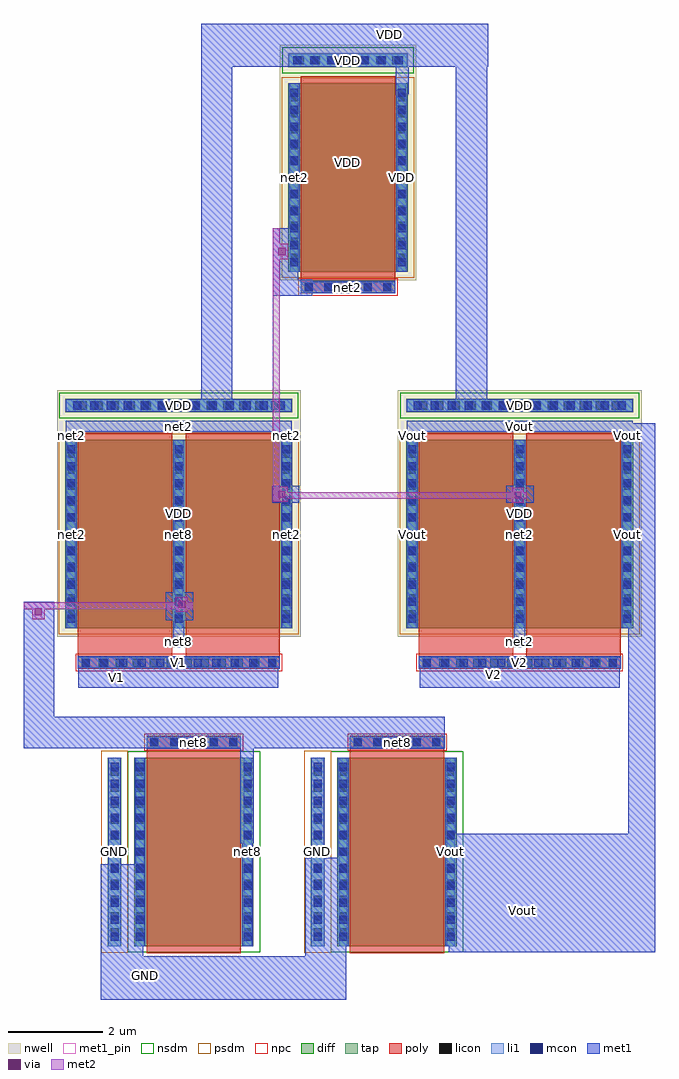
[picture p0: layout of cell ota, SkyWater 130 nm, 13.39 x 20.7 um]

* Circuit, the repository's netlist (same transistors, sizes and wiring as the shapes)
** sch_path: /foss/designs/ota.sch
.subckt ota VDD V2 V1 Vout GND
*.PININFO VDD:B GND:B V2:I V1:I Vout:O
XM1 net2 V1 net1 VDD sky130_fd_pr__pfet_01v8 L=2 W=8 nf=2 m=1
XM3 net2 net2 GND GND sky130_fd_pr__nfet_01v8 L=2 W=4 nf=1 m=1
XM4 Vout net2 GND GND sky130_fd_pr__nfet_01v8 L=2 W=4 nf=1 m=1
XM2 Vout V2 net1 VDD sky130_fd_pr__pfet_01v8 L=2 W=8 nf=2 m=1
XM5 net1 net1 VDD VDD sky130_fd_pr__pfet_01v8 L=2 W=4 nf=1 m=1
**** begin user architecture code

**** end user architecture code
.ends

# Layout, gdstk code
import gdstk
lib = gdstk.Library(unit=1e-6, precision=1e-09)
def R(c, l, rs):  # rectangles x0, y0, x1, y1
    for r in rs: c.add(gdstk.rectangle(r[:2], r[2:], *l))
def A(c, l, x, y, w, h, nx, ny, dx, dy):  # array of equal rectangles
    R(c, l, [(x+i*dx, y+j*dy, x+i*dx+w, y+j*dy+h) for i in range(nx) for j in range(ny)])
nwell = (64, 20)
diff = (65, 20)
tap = (65, 44)
poly = (66, 20)
licon = (66, 44)
li1 = (67, 20)
mcon = (67, 44)
met1_pin = (68, 16)
met1 = (68, 20)
via = (68, 44)
met2 = (69, 20)
nsdm = (93, 44)
psdm = (94, 20)
npc = (95, 20)

m1m2_c_cdns_778477242840 = lib.new_cell('M1M2_C_CDNS_778477242840')
R(m1m2_c_cdns_778477242840, met1, [(-0.13,-0.16,0.13,0.16)])
R(m1m2_c_cdns_778477242840, via, [(-0.075,-0.075,0.075,0.075)])
R(m1m2_c_cdns_778477242840, met2, [(-0.13,-0.16,0.13,0.16)])

ota = lib.new_cell('ota')
R(ota, nwell, [(1.19,9.285,6.36,14.515), (8.415,9.285,13.585,14.515), (5.915,16.845,8.805,21.835)])
R(ota, diff, [(2.825,2.725,3.09,6.725), (3.09,2.725,5.09,6.725), (5.09,2.725,5.355,6.725), (7.135,2.725,7.4,6.725), (7.4,2.725,9.4,6.725), (9.4,2.725,9.665,6.725), (1.37,9.465,1.635,13.465), (1.635,9.465,3.635,13.465), (3.635,9.465,3.915,13.465), (3.915,9.465,5.915,13.465), (5.915,9.465,6.18,13.465), (8.595,9.465,8.86,13.465), (8.86,9.465,10.86,13.465), (10.86,9.465,11.14,13.465), (11.14,9.465,13.14,13.465), (13.14,9.465,13.405,13.465), (6.095,17.025,6.36,21.025), (6.36,17.025,8.36,21.025), (8.36,17.025,8.625,21.025)])
R(ota, tap, [(2.265,2.725,2.555,6.725), (6.575,2.725,6.865,6.725), (1.37,14.045,6.18,14.335), (8.595,14.045,13.405,14.335), (6.095,21.365,8.625,21.655)])
R(ota, poly, [(3.09,2.575,5.09,2.725), (7.4,2.575,9.4,2.725), (3.09,2.725,5.09,6.725), (7.4,2.725,9.4,6.725), (3.09,6.725,5.09,6.915), (7.4,6.725,9.4,6.915), (3.09,6.915,5.09,7.185), (7.4,6.915,9.4,7.185), (1.635,8.605,5.915,8.875), (8.86,8.605,13.14,8.875), (1.635,8.875,3.635,9.465), (3.915,8.875,5.915,9.465), (8.86,8.875,10.86,9.465), (11.14,8.875,13.14,9.465), (1.635,9.465,3.635,13.465), (3.915,9.465,5.915,13.465), (8.86,9.465,10.86,13.465), (11.14,9.465,13.14,13.465), (1.635,13.465,3.635,13.615), (3.915,13.465,5.915,13.615), (8.86,13.465,10.86,13.615), (11.14,13.465,13.14,13.615), (6.36,16.565,8.36,16.835), (6.36,16.835,8.36,17.025), (6.36,17.025,8.36,21.025), (6.36,21.025,8.36,21.175)])
A(ota, licon, 2.325, 2.94, 0.17, 0.17, 1, 11, 0, 0.34)
A(ota, licon, 2.865, 2.94, 0.17, 0.17, 1, 11, 0, 0.34)
A(ota, licon, 5.145, 2.94, 0.17, 0.17, 1, 11, 0, 0.34)
A(ota, licon, 6.635, 2.94, 0.17, 0.17, 1, 11, 0, 0.34)
A(ota, licon, 7.175, 2.94, 0.17, 0.17, 1, 11, 0, 0.34)
A(ota, licon, 9.455, 2.94, 0.17, 0.17, 1, 11, 0, 0.34)
A(ota, licon, 3.17, 6.965, 0.17, 0.17, 3, 1, 0.42, 0)
A(ota, licon, 7.48, 6.965, 0.17, 0.17, 3, 1, 0.42, 0)
A(ota, licon, 1.715, 8.655, 0.17, 0.17, 10, 1, 0.36, 0)
A(ota, licon, 8.94, 8.655, 0.17, 0.17, 10, 1, 0.36, 0)
A(ota, licon, 1.41, 9.68, 0.17, 0.17, 3, 11, 2.28, 0.34)
A(ota, licon, 8.635, 9.68, 0.17, 0.17, 3, 11, 2.28, 0.34)
A(ota, licon, 1.65, 14.105, 0.17, 0.17, 13, 1, 0.34, 0)
A(ota, licon, 8.875, 14.105, 0.17, 0.17, 13, 1, 0.34, 0)
A(ota, licon, 6.44, 16.615, 0.17, 0.17, 3, 1, 0.42, 0)
A(ota, licon, 6.135, 17.24, 0.17, 0.17, 1, 11, 0, 0.34)
A(ota, licon, 8.415, 17.24, 0.17, 0.17, 1, 11, 0, 0.34)
A(ota, licon, 6.255, 21.425, 0.17, 0.17, 7, 1, 0.34, 0)
R(ota, licon, [(4.425,6.965,4.595,7.135), (4.84,6.965,5.01,7.135), (8.735,6.965,8.905,7.135), (9.15,6.965,9.32,7.135), (5.31,8.655,5.48,8.825), (5.665,8.655,5.835,8.825), (12.535,8.655,12.705,8.825), (12.89,8.655,13.06,8.825), (7.695,16.615,7.865,16.785), (8.11,16.615,8.28,16.785)])
A(ota, li1, 1.41, 9.465, 0.17, 4, 3, 1, 2.28, 0)
A(ota, li1, 8.635, 9.465, 0.17, 4, 3, 1, 2.28, 0)
R(ota, li1, [(2.275,2.725,2.545,6.725), (2.865,2.725,3.035,6.725), (5.145,2.725,5.315,6.725), (6.585,2.725,6.855,6.725), (7.175,2.725,7.345,6.725), (9.455,2.725,9.625,6.725), (3.09,6.935,5.09,7.165), (7.4,6.935,9.4,7.165), (1.635,8.625,5.915,8.855), (8.86,8.625,13.14,8.855), (1.38,14.055,6.17,14.325), (8.605,14.055,13.395,14.325), (6.36,16.585,8.36,16.815), (6.135,17.025,6.305,21.025), (8.415,17.025,8.585,21.025), (6.105,21.375,8.615,21.645)])
A(ota, mcon, 2.325, 2.84, 0.17, 0.17, 1, 11, 0, 0.36)
A(ota, mcon, 2.865, 2.84, 0.17, 0.17, 1, 11, 0, 0.36)
A(ota, mcon, 5.145, 2.84, 0.17, 0.17, 1, 11, 0, 0.36)
A(ota, mcon, 6.635, 2.84, 0.17, 0.17, 1, 11, 0, 0.36)
A(ota, mcon, 7.175, 2.84, 0.17, 0.17, 1, 11, 0, 0.36)
A(ota, mcon, 9.455, 2.84, 0.17, 0.17, 1, 11, 0, 0.36)
A(ota, mcon, 3.17, 6.965, 0.17, 0.17, 3, 1, 0.42, 0)
A(ota, mcon, 7.48, 6.965, 0.17, 0.17, 3, 1, 0.42, 0)
A(ota, mcon, 1.715, 8.655, 0.17, 0.17, 11, 1, 0.395, 0)
A(ota, mcon, 8.94, 8.655, 0.17, 0.17, 11, 1, 0.395, 0)
A(ota, mcon, 1.41, 9.58, 0.17, 0.17, 3, 11, 2.28, 0.36)
A(ota, mcon, 8.635, 9.58, 0.17, 0.17, 3, 11, 2.28, 0.36)
A(ota, mcon, 1.53, 14.105, 0.17, 0.17, 13, 1, 0.36, 0)
A(ota, mcon, 8.755, 14.105, 0.17, 0.17, 13, 1, 0.36, 0)
A(ota, mcon, 6.44, 16.615, 0.17, 0.17, 3, 1, 0.42, 0)
A(ota, mcon, 6.135, 17.14, 0.17, 0.17, 1, 11, 0, 0.36)
A(ota, mcon, 8.415, 17.14, 0.17, 0.17, 1, 11, 0, 0.36)
A(ota, mcon, 6.195, 21.425, 0.17, 0.17, 7, 1, 0.36, 0)
R(ota, mcon, [(4.425,6.965,4.595,7.135), (4.84,6.965,5.01,7.135), (8.735,6.965,8.905,7.135), (9.15,6.965,9.32,7.135), (7.695,16.615,7.865,16.785), (8.11,16.615,8.28,16.785)])
R(ota, met1_pin, [(3.005,2.04,3.145,2.18), (10.99,3.405,11.13,3.545), (2.335,8.31,2.565,8.555), (10.365,8.42,10.505,8.56), (8.185,22.01,8.3,22.105)])
A(ota, met1, 1.38, 9.465, 0.23, 4, 3, 1, 2.28, 0)
A(ota, met1, 8.605, 9.465, 0.23, 4, 3, 1, 2.28, 0)
R(ota, met1, [(2.12,1.595,7.32,2.515), (2.12,1.935,3.02,4.46), (6.455,1.935,7.32,4.6), (9.495,2.595,13.875,5.11), (13.3,2.595,13.875,13.815), (2.275,2.725,2.545,6.725), (2.835,2.725,3.065,6.725), (5.115,2.725,5.345,6.725), (6.585,2.725,6.855,6.725), (7.145,2.725,7.375,6.725), (9.425,2.725,9.655,6.725), (5.075,4.905,5.36,7.46), (3.09,6.915,5.09,7.185), (7.4,6.915,9.4,7.185), (0.485,6.92,1.13,10.025), (0.485,6.92,9.41,7.59), (1.645,8.205,5.885,8.845), (8.88,8.205,13.12,8.845), (1.635,8.605,5.915,8.875), (8.86,8.605,13.14,8.875), (3.66,9.065,3.89,9.295), (10.885,9.065,11.115,9.295), (3.66,9.295,3.89,9.465), (10.885,9.295,11.115,9.465), (3.5,9.64,4.075,10.235), (5.755,12.13,6.33,12.49), (10.72,12.13,11.295,12.49), (1.38,13.465,1.61,13.635), (5.94,13.465,6.17,13.635), (8.605,13.465,8.835,13.635), (13.165,13.465,13.395,13.635), (1.38,13.635,6.17,13.865), (8.605,13.635,13.395,13.865), (1.38,14.055,6.17,14.325), (8.605,14.055,13.395,14.325), (4.245,14.065,4.91,22.285), (9.645,14.07,10.31,22.29), (5.76,16.52,6.605,16.855), (5.76,16.52,6.305,17.945), (6.36,16.565,8.36,16.835), (6.105,17.025,6.335,21.025), (8.385,17.025,8.615,21.025), (8.375,20.795,8.65,21.755), (4.245,21.375,10.335,22.29), (6.105,21.375,8.615,21.645)])
R(ota, met2, [(0.485,9.875,4.075,10.02), (5.76,12.145,5.915,17.945), (5.785,12.21,11.15,12.355)])
R(ota, nsdm, [(2.685,2.595,5.495,6.855), (6.995,2.595,9.805,6.855), (1.24,13.915,6.31,14.465), (8.465,13.915,13.535,14.465), (5.965,21.235,8.755,21.785)])
R(ota, psdm, [(2.125,2.585,2.695,6.865), (6.435,2.585,7.005,6.865), (1.23,9.335,6.32,13.595), (8.455,9.335,13.545,13.595), (5.955,16.895,8.765,21.155)])
R(ota, npc, [(3.04,6.865,5.14,7.235), (7.35,6.865,9.45,7.235), (1.585,8.555,5.965,8.925), (8.81,8.555,13.19,8.925), (6.31,16.515,8.41,16.885)])
ota.add(gdstk.Reference(m1m2_c_cdns_778477242840, (0.795,9.82)))
ota.add(gdstk.Reference(m1m2_c_cdns_778477242840, (5.95,12.31)))
ota.add(gdstk.Reference(m1m2_c_cdns_778477242840, (10.96,12.29)))
ota.add(gdstk.Reference(m1m2_c_cdns_778477242840, (5.96,17.455)))
ota.add(gdstk.Reference(m1m2_c_cdns_778477242840, (3.835,9.975)))
ota.add(gdstk.Label('VDD', (7.36,19.34), layer=64, texttype=20))
ota.add(gdstk.Label('VDD', (3.775,11.9), layer=64, texttype=20))
ota.add(gdstk.Label('VDD', (11,11.9), layer=64, texttype=20))
ota.add(gdstk.Label('V1', (2.45,8.432), layer=68, texttype=16))
ota.add(gdstk.Label('V2', (10.435,8.49), layer=68, texttype=16))
ota.add(gdstk.Label('GND', (3.075,2.11), layer=68, texttype=16))
ota.add(gdstk.Label('Vout', (11.06,3.475), layer=68, texttype=16))
ota.add(gdstk.Label('VDD', (8.242,22.057), layer=68, texttype=16))
ota.add(gdstk.Label('VDD', (7.36,21.51), layer=68, texttype=20))
ota.add(gdstk.Label('net2', (7.36,16.7), layer=68, texttype=20))
ota.add(gdstk.Label('VDD', (8.5,19.025), layer=68, texttype=20))
ota.add(gdstk.Label('net2', (6.22,19.025), layer=68, texttype=20))
ota.add(gdstk.Label('GND', (2.41,4.725), layer=68, texttype=20))
ota.add(gdstk.Label('net8', (4.09,7.05), layer=68, texttype=20))
ota.add(gdstk.Label('net8', (5.23,4.725), layer=68, texttype=20))
ota.add(gdstk.Label('GND', (2.95,4.725), layer=68, texttype=20))
ota.add(gdstk.Label('GND', (6.72,4.725), layer=68, texttype=20))
ota.add(gdstk.Label('net8', (8.4,7.05), layer=68, texttype=20))
ota.add(gdstk.Label('Vout', (9.54,4.725), layer=68, texttype=20))
ota.add(gdstk.Label('GND', (7.26,4.725), layer=68, texttype=20))
ota.add(gdstk.Label('VDD', (3.775,14.19), layer=68, texttype=20))
ota.add(gdstk.Label('V1', (3.775,8.74), layer=68, texttype=20))
ota.add(gdstk.Label('net8', (3.775,9.18), layer=68, texttype=20))
ota.add(gdstk.Label('net8', (3.775,9.38), layer=68, texttype=20))
ota.add(gdstk.Label('net8', (3.775,11.465), layer=68, texttype=20))
ota.add(gdstk.Label('net2', (3.775,13.75), layer=68, texttype=20))
ota.add(gdstk.Label('net2', (6.055,13.55), layer=68, texttype=20))
ota.add(gdstk.Label('net2', (1.495,13.55), layer=68, texttype=20))
ota.add(gdstk.Label('net2', (6.055,11.465), layer=68, texttype=20))
ota.add(gdstk.Label('net2', (1.495,11.465), layer=68, texttype=20))
ota.add(gdstk.Label('VDD', (11,14.19), layer=68, texttype=20))
ota.add(gdstk.Label('V2', (11,8.74), layer=68, texttype=20))
ota.add(gdstk.Label('net2', (11,9.18), layer=68, texttype=20))
ota.add(gdstk.Label('net2', (11,9.38), layer=68, texttype=20))
ota.add(gdstk.Label('net2', (11,11.465), layer=68, texttype=20))
ota.add(gdstk.Label('Vout', (11,13.75), layer=68, texttype=20))
ota.add(gdstk.Label('Vout', (13.28,13.55), layer=68, texttype=20))
ota.add(gdstk.Label('Vout', (8.72,13.55), layer=68, texttype=20))
ota.add(gdstk.Label('Vout', (13.28,11.465), layer=68, texttype=20))
ota.add(gdstk.Label('Vout', (8.72,11.465), layer=68, texttype=20))
ota.add(gdstk.Label('net2', (7.36,16.7), layer=67, texttype=20))
ota.add(gdstk.Label('GND', (2.41,4.725), layer=67, texttype=20))
ota.add(gdstk.Label('net8', (4.09,7.05), layer=67, texttype=20))
ota.add(gdstk.Label('GND', (6.72,4.725), layer=67, texttype=20))
ota.add(gdstk.Label('net8', (8.4,7.05), layer=67, texttype=20))
ota.add(gdstk.Label('V1', (3.775,8.74), layer=67, texttype=20))
ota.add(gdstk.Label('V2', (11,8.74), layer=67, texttype=20))
ota.add(gdstk.Label('VDD', (8.492,19.025), layer=65, texttype=20))
ota.add(gdstk.Label('net2', (6.227,19.025), layer=65, texttype=20))
ota.add(gdstk.Label('net8', (5.222,4.725), layer=65, texttype=20))
ota.add(gdstk.Label('GND', (2.957,4.725), layer=65, texttype=20))
ota.add(gdstk.Label('Vout', (9.532,4.725), layer=65, texttype=20))
ota.add(gdstk.Label('GND', (7.267,4.725), layer=65, texttype=20))
ota.add(gdstk.Label('net2', (6.047,11.465), layer=65, texttype=20))
ota.add(gdstk.Label('net2', (1.502,11.465), layer=65, texttype=20))
ota.add(gdstk.Label('Vout', (13.272,11.465), layer=65, texttype=20))
ota.add(gdstk.Label('Vout', (8.727,11.465), layer=65, texttype=20))

lib.write_gds('ota.gds')
